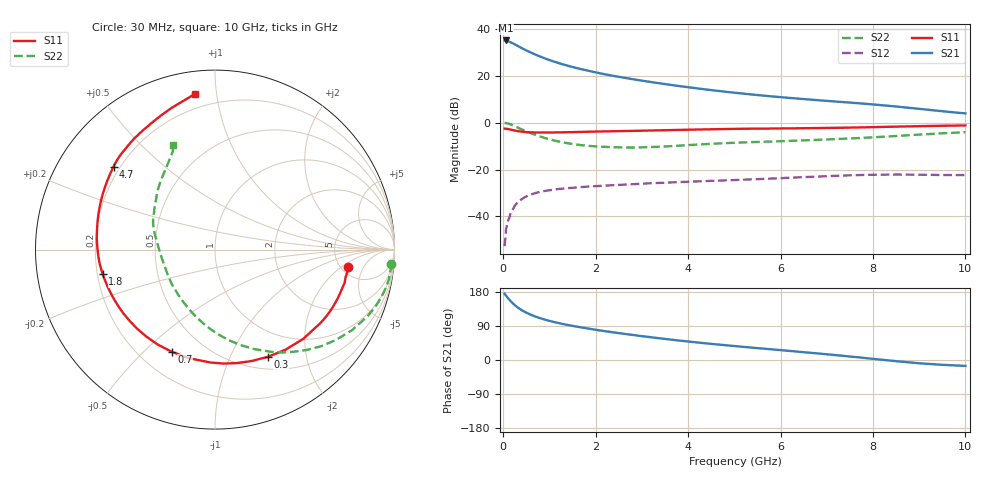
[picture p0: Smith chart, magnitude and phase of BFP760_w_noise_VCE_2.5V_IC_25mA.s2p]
! Infineon Technologies  Discrete & RF Semiconductors
! BFP760
! VCE =  2.5 V,  IC =  25 mA
! Common Emitter S-Parameters:  Nov 2012
# GHz  S  MA  R  50
!  f  S11  S21  S12  S22
! GHz  MAG  ANG  MAG  ANG  MAG  ANG  MAG  ANG
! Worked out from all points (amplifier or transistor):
!   99 points, 30 MHz to 10 GHz, reference 50 ohm
!   highest |S21| = 35.2 dB at 50 MHz (marker M1)
!   |S21| within 3 dB of that: start of sweep to 376.3 MHz
!   unconditionally stable (mu >= 1): 4.421 GHz to end of sweep
!   at 350 MHz: K = 0.24, MSG = 32.9 dB, |S12| = -33.4 dB
!   at 3.5 GHz: K = 0.91, MSG = 21.1 dB, |S12| = -25.6 dB
!   at 10 GHz: K = 1.09, MAG = 11.4 dB, |S12| = -22.4 dB
!   lowest NFmin = 0.68 dB at 900 MHz
!   S11 on the Smith chart (normalised r, x): 30 MHz: 5.84, -2.53; 300 MHz: 0.65, -1.40; 700 MHz: 0.33, -0.61; 1.8 GHz: 0.22, -0.10; 4.7 GHz: 0.18, +0.35; 10 GHz: 0.12, +0.87
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0.03  0.7486 -7.3  57.12 175.1  0.0023 89.3  0.9863 -4.6
0.05  0.7438 -11.9  57.28 171.4  0.0035 95.4  0.982 -7.8
0.11  0.73 -26.1  54.91 162.3  0.0083 76.3  0.9561 -17.7
0.15  0.7153 -35.1  52.95 156.7  0.0109 73.8  0.9269 -23.7
0.2  0.6993 -45.4  50.1 150.5  0.0136 69.3  0.8852 -30.5
0.25  0.6821 -54.9  47.34 144.9  0.0169 65.1  0.8413 -36.7
0.3  0.6661 -63.7  44.5 139.9  0.0192 62.4  0.7999 -42.3
0.4  0.6439 -79.2  39.44 131.6  0.0233 55.8  0.7206 -52.1
0.5  0.6297 -92.2  35.1 124.9  0.0266 51.0  0.6534 -60.8
0.7  0.6183 -112.8  28.47 114.5  0.0315 44.0  0.5485 -75.4
0.9  0.6175 -128.2  23.74 106.6  0.0348 39.2  0.4719 -87.9
1.1  0.6195 -140.2  20.22 100.2  0.0373 36.1  0.4171 -98.8
1.4  0.6271 -153.9  16.48 92.4  0.04 32.9  0.364 -112.9
1.7  0.6365 -164.6  13.86 85.7  0.0422 30.9  0.3304 -125.4
1.8  0.6405 -167.6  13.16 83.7  0.043 30.3  0.3243 -129.4
2.5  0.661 174.9  9.572 71.0  0.0469 28.1  0.2975 -153.1
3.4  0.6882 158.1  6.918 57.0  0.0518 26.2  0.3077 -177.6
4.7  0.7297 140.8  4.724 40.3  0.058 24.4  0.3622 160.8
5.1  0.74 137.2  4.278 35.8  0.0602 23.8  0.3765 156.4
6.7  0.7675 125.0  3.088 18.5  0.0701 20.6  0.427 140.8
8.5  0.825 107.2  2.222 -3.1  0.0781 10.8  0.5194 122.6
10  0.8741 97.5  1.581 -15.6  0.076 6.6  0.6265 111.7
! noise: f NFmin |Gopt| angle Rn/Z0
0.9  0.68  0.13  -170  0.1
1.8  0.74  0.15  -159  0.07
2.4  0.78  0.16  -149  0.08
3.5  0.91  0.17  -140  0.09
5.5  1.12  0.26  -110  0.19
8  1.42  0.38  -78  0.37
